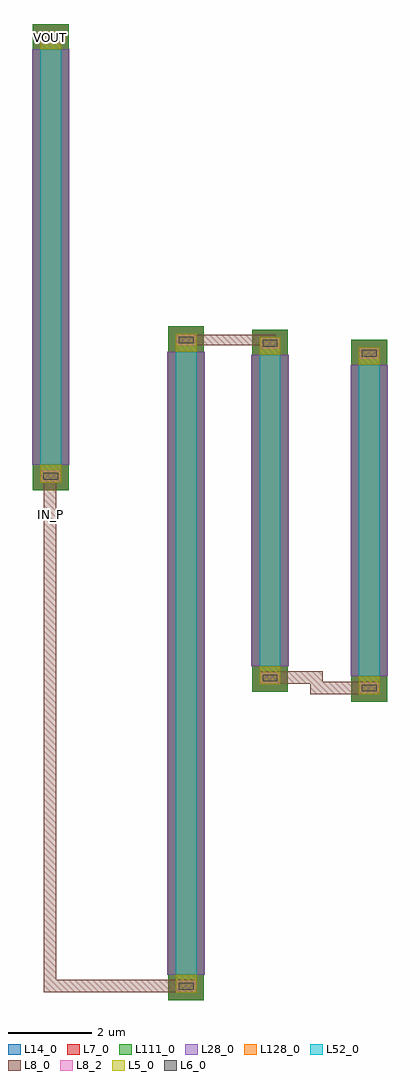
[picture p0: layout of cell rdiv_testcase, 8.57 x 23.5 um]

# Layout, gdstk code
from math import pi, radians
import gdstk
lib = gdstk.Library(unit=1e-6, precision=1e-09)
def R(c, l, rs):  # rectangles x0, y0, x1, y1
    for r in rs: c.add(gdstk.rectangle(r[:2], r[2:], *l))
L5_0 = (5, 0)
L6_0 = (6, 0)
L7_0 = (7, 0)
L8_0 = (8, 0)
L8_2 = (8, 2)
L14_0 = (14, 0)
L28_0 = (28, 0)
L52_0 = (52, 0)
L111_0 = (111, 0)
L128_0 = (128, 0)

rhigh_2 = lib.new_cell('rhigh$2')
R(rhigh_2, L5_0, [(0,-0.43,0.5,0), (0,7.5,0.5,7.93)])
R(rhigh_2, L6_0, [(0.07,-0.36,0.43,-0.2), (0.07,7.7,0.43,7.86)])
R(rhigh_2, L7_0, [(-0.18,-0.61,0.68,0.18), (-0.18,0,0.68,7.5), (-0.18,0,0.68,7.5), (-0.18,7.32,0.68,8.11)])
R(rhigh_2, L8_0, [(0.02,-0.41,0.48,-0.15), (0.02,7.65,0.48,7.91)])
R(rhigh_2, L8_2, [(0.02,-0.41,0.48,-0.15), (0.02,-0.41,0.48,-0.15), (0.02,7.65,0.48,7.91), (0.02,7.65,0.48,7.91)])
R(rhigh_2, L14_0, [(-0.18,-0.61,0.68,0.18), (-0.18,0,0.68,7.5), (-0.18,0,0.68,7.5), (-0.18,7.32,0.68,8.11)])
R(rhigh_2, L28_0, [(-0.2,0,0.7,7.5)])
R(rhigh_2, L52_0, [(0,0,0.5,7.5)])
R(rhigh_2, L111_0, [(-0.18,-0.61,0.68,0.18), (-0.2,0,0.7,7.5), (-0.18,7.32,0.68,8.11)])
R(rhigh_2, L128_0, [(0,0,0.5,7.5)])
rhigh_2.add(gdstk.Label('rpnd r=22493.913', (0.25,3.75), layer=63, texttype=0))
rhigh_2.add(gdstk.Label('rhigh', (0.25,3.75), layer=52, texttype=0))

rhigh_1 = lib.new_cell('rhigh$1')
R(rhigh_1, L5_0, [(0,-0.43,0.5,0), (0,10,0.5,10.43)])
R(rhigh_1, L6_0, [(0.07,-0.36,0.43,-0.2), (0.07,10.2,0.43,10.36)])
R(rhigh_1, L7_0, [(-0.18,-0.61,0.68,0.18), (-0.18,0,0.68,10), (-0.18,0,0.68,10), (-0.18,9.82,0.68,10.61)])
R(rhigh_1, L8_0, [(0.02,-0.41,0.48,-0.15), (0.02,10.15,0.48,10.41)])
R(rhigh_1, L8_2, [(0.02,-0.41,0.48,-0.15), (0.02,-0.41,0.48,-0.15), (0.02,10.15,0.48,10.41), (0.02,10.15,0.48,10.41)])
R(rhigh_1, L14_0, [(-0.18,-0.61,0.68,0.18), (-0.18,0,0.68,10), (-0.18,0,0.68,10), (-0.18,9.82,0.68,10.61)])
R(rhigh_1, L28_0, [(-0.2,0,0.7,10)])
R(rhigh_1, L52_0, [(0,0,0.5,10)])
R(rhigh_1, L111_0, [(-0.18,-0.61,0.68,0.18), (-0.2,0,0.7,10), (-0.18,9.82,0.68,10.61)])
R(rhigh_1, L128_0, [(0,0,0.5,10)])
rhigh_1.add(gdstk.Label('rpnd r=29885.217', (0.25,5), layer=63, texttype=0))
rhigh_1.add(gdstk.Label('rhigh', (0.25,5), layer=52, texttype=0))

rhigh = lib.new_cell('rhigh')
R(rhigh, L5_0, [(0,-0.43,0.5,0), (0,15,0.5,15.43)])
R(rhigh, L6_0, [(0.07,-0.36,0.43,-0.2), (0.07,15.2,0.43,15.36)])
R(rhigh, L7_0, [(-0.18,-0.61,0.68,0.18), (-0.18,0,0.68,15), (-0.18,0,0.68,15), (-0.18,14.82,0.68,15.61)])
R(rhigh, L8_0, [(0.02,-0.41,0.48,-0.15), (0.02,15.15,0.48,15.41)])
R(rhigh, L8_2, [(0.02,-0.41,0.48,-0.15), (0.02,-0.41,0.48,-0.15), (0.02,15.15,0.48,15.41), (0.02,15.15,0.48,15.41)])
R(rhigh, L14_0, [(-0.18,-0.61,0.68,0.18), (-0.18,0,0.68,15), (-0.18,0,0.68,15), (-0.18,14.82,0.68,15.61)])
R(rhigh, L28_0, [(-0.2,0,0.7,15)])
R(rhigh, L52_0, [(0,0,0.5,15)])
R(rhigh, L111_0, [(-0.18,-0.61,0.68,0.18), (-0.2,0,0.7,15), (-0.18,14.82,0.68,15.61)])
R(rhigh, L128_0, [(0,0,0.5,15)])
rhigh.add(gdstk.Label('rpnd r=44667.826', (0.25,7.5), layer=63, texttype=0))
rhigh.add(gdstk.Label('rhigh', (0.25,7.5), layer=52, texttype=0))

rdiv_testcase = lib.new_cell('rdiv_testcase')
R(rdiv_testcase, L8_0, [(2.292,-6.721,4.677,-6.461)])
rdiv_testcase.add(gdstk.FlexPath([(4.292,-14.722),(5.662,-14.722),(5.662,-14.97),(7.161,-14.97)], 0.3, ends="flush", simple_path=True, layer=8, datatype=0))  # L8_0
rdiv_testcase.add(gdstk.FlexPath([(-0.75,-9.743),(-0.75,-22.145),(2.764,-22.145)], 0.3, ends="flush", simple_path=True, layer=8, datatype=0))  # L8_0
rdiv_testcase.add(gdstk.Reference(rhigh_2, (4.792,-6.949), rotation=pi))
rdiv_testcase.add(gdstk.Reference(rhigh_1, (-0.487,0.407), rotation=pi))
rdiv_testcase.add(gdstk.Reference(rhigh, (2.772,-6.871), rotation=pi))
rdiv_testcase.add(gdstk.Reference(rhigh_2, (7.181,-7.191), rotation=pi))
rdiv_testcase.add(gdstk.Label('VOUT', (-0.745,0.687), layer=8, texttype=1))
rdiv_testcase.add(gdstk.Label('IN_P', (-0.75,-10.801), layer=8, texttype=1))

lib.write_gds('rdiv_testcase.gds')
